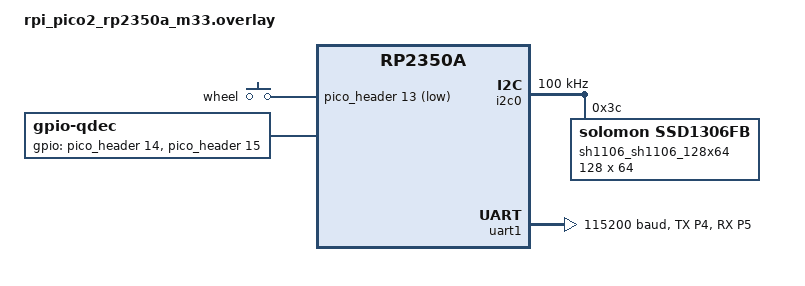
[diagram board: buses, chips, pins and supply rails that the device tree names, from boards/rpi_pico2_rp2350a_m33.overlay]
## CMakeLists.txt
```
# SPDX-License-Identifier: GPL-2.0-or-later

cmake_minimum_required(VERSION 3.20.0)

# Add fusain module to EXTRA_ZEPHYR_MODULES
list(APPEND EXTRA_ZEPHYR_MODULES ${CMAKE_CURRENT_SOURCE_DIR}/../../modules/lib/fusain)

find_package(Zephyr REQUIRED HINTS $ENV{ZEPHYR_BASE})
project(slate)

# Slate sources
FILE(GLOB_RECURSE app_sources src/*.c)
target_sources(app PRIVATE ${app_sources})
target_include_directories(app PRIVATE include)

# Linker section for HTTP resources
zephyr_linker_sources(SECTIONS sections-rom.ld)
```

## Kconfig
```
# Copyright (c) 2025 Kaz Walker, Thermoquad
# SPDX-License-Identifier: GPL-2.0-or-later

menu "Slate Configuration"

config SLATE_MAX_APPLIANCES
	int "Maximum number of appliances in cache"
	default 10
	range 1 64
	help
	  Maximum number of Fusain appliances that can be tracked in the
	  WebSocket bridge appliance cache. Each appliance entry stores
	  the latest telemetry packets (STATE_DATA, MOTOR_DATA, PUMP_DATA,
	  GLOW_DATA, TEMP_DATA) for rate-limited forwarding to WebSocket
	  clients.

	  Memory usage: approximately 600 bytes per appliance.

endmenu

source "Kconfig.zephyr"
```

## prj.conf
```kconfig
# SPDX-License-Identifier: GPL-2.0-or-later

# Networking
CONFIG_NETWORKING=y
CONFIG_TEST_RANDOM_GENERATOR=y
CONFIG_NET_SOCKETS=y
CONFIG_POSIX_API=y

# Stack Sizes (non-default)
CONFIG_MAIN_STACK_SIZE=5200
CONFIG_SHELL_STACK_SIZE=5200
CONFIG_NET_TX_STACK_SIZE=2048
CONFIG_NET_RX_STACK_SIZE=2048

# Network Buffers (increased for WiFi + mDNS + WebSocket)
CONFIG_NET_PKT_RX_COUNT=16
CONFIG_NET_PKT_TX_COUNT=16
CONFIG_NET_BUF_RX_COUNT=128
CONFIG_NET_BUF_TX_COUNT=128
CONFIG_NET_BUF_DATA_SIZE=128
CONFIG_NET_MAX_CONTEXTS=32
CONFIG_NET_MAX_CONN=32
CONFIG_NET_DHCPV4=y

CONFIG_NET_IPV4=y
CONFIG_NET_TCP=y

# Hostname Configuration
CONFIG_NET_HOSTNAME_ENABLE=y
CONFIG_NET_HOSTNAME_DYNAMIC=y
CONFIG_NET_HOSTNAME="slate-thermoquad"
CONFIG_NET_HOSTNAME_MAX_LEN=63

# mDNS Responder
CONFIG_MDNS_RESPONDER=y

# HTTP Server with WebSocket
CONFIG_HTTP_PARSER=y
CONFIG_HTTP_PARSER_URL=y
CONFIG_HTTP_SERVER=y
CONFIG_HTTP_SERVER_MAX_CLIENTS=4
CONFIG_HTTP_SERVER_MAX_URL_LENGTH=128
CONFIG_HTTP_SERVER_WEBSOCKET=y
CONFIG_HTTP_SERVER_CAPTURE_HEADERS=y
CONFIG_HTTP_SERVER_MAX_HEADER_LEN=512
CONFIG_HTTP_SERVER_CAPTURE_HEADER_BUFFER_SIZE=1024
CONFIG_HTTP_SERVER_CAPTURE_HEADER_COUNT=4
CONFIG_WEBSOCKET_MAX_CONTEXTS=4

# POSIX File Descriptors for Sockets
CONFIG_ZVFS_OPEN_MAX=36
CONFIG_ZVFS_POLL_MAX=32

# Eventfd for WebSocket
CONFIG_EVENTFD=y
CONFIG_ZVFS_EVENTFD_MAX=10

CONFIG_NET_LOG=y
CONFIG_NET_SHELL=y
CONFIG_NET_STATISTICS=y

CONFIG_WIFI=y
CONFIG_WIFI_LOG_LEVEL_ERR=y
# printing of scan results puts pressure on queues in new locking
# design in net_mgmt. So, use a higher timeout for a crowded
# environment.
CONFIG_NET_MGMT_EVENT_QUEUE_TIMEOUT=5000
CONFIG_NET_MGMT_EVENT_QUEUE_SIZE=16

# Flash Storage for Configuration
CONFIG_FLASH=y

# NVS for WiFi Credentials
CONFIG_NVS=y
CONFIG_NVS_DATA_CRC=y

# Hardware Info (device ID for hostname)
CONFIG_HWINFO=y
CONFIG_HWINFO_RPI_PICO_CHIP_ID=y

# Logging
CONFIG_LOG=y
CONFIG_SHELL_LOG_BACKEND=y
CONFIG_LOG_RUNTIME_FILTERING=y
CONFIG_LOG_CMDS=y

# Input
CONFIG_INPUT=y
CONFIG_INPUT_GPIO_QDEC=y

# Serial Communication
CONFIG_SERIAL=y

# Shell
CONFIG_SHELL=y
CONFIG_KERNEL_SHELL=y
CONFIG_DEVICE_SHELL=y

# Reboot Command (non-default delay)
CONFIG_REBOOT=y
CONFIG_KERNEL_SHELL_REBOOT_DELAY=250

# Statistics
CONFIG_STATS=y
CONFIG_STATS_NAMES=y
CONFIG_STATS_SHELL=y

# Zbus Message Bus
CONFIG_ZBUS=y

# Fusain Serial Protocol Library
CONFIG_FUSAIN=y

# Slate Configuration
CONFIG_SLATE_MAX_APPLIANCES=10

# I2C for display
CONFIG_I2C=y
CONFIG_I2C_SHELL=y

# Display Subsystem
CONFIG_DISPLAY=y

# LVGL Configuration
CONFIG_LVGL=y
CONFIG_LV_Z_MEM_POOL_SIZE=16384
CONFIG_LV_COLOR_DEPTH_1=y
CONFIG_LV_Z_BITS_PER_PIXEL=1
CONFIG_LV_Z_VDB_SIZE=100
CONFIG_LV_USE_LABEL=y

# Fonts
CONFIG_LV_FONT_MONTSERRAT_12=y
CONFIG_LV_FONT_MONTSERRAT_14=y
CONFIG_LV_FONT_UNSCII_8=y
```

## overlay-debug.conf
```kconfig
# SPDX-License-Identifier: GPL-2.0-or-later

# Debugging
CONFIG_STACK_SENTINEL=y
CONFIG_DEBUG_COREDUMP=y
CONFIG_DEBUG_COREDUMP_BACKEND_LOGGING=y
CONFIG_DEBUG_COREDUMP_MEMORY_DUMP_MIN=y
```

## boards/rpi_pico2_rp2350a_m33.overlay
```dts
/*
 * SPDX-License-Identifier: GPL-2.0-or-later
 */

#include <zephyr/dt-bindings/input/input-event-codes.h>
#include <zephyr/dt-bindings/i2c/i2c.h>

/* Add reverse compatability with Pico */
pico_i2c0: &i2c0 {
	status = "okay";
	clock-frequency = <I2C_BITRATE_STANDARD>;
	pinctrl-0 = <&i2c0_default>;
	pinctrl-names = "default";

	sh1106_sh1106_128x64: ssd1306@3c {
		compatible = "solomon,ssd1306fb";
		reg = <0x3c>;
		width = <128>;
		height = <64>;
		segment-offset = <0>;
		page-offset = <0>;
		display-offset = <0>;
		multiplex-ratio = <63>;
		segment-remap;
		com-invdir;
		prechargep = <0x22>;
	};
};
pico_i2c1: &i2c1 {};
pico_uart1: &uart1 {};

&pinctrl {
	uart1_default: uart1_default {
		group1 {
			pinmux = <UART1_TX_P4>;
		};
		group2 {
			pinmux = <UART1_RX_P5>;
			input-enable;
		};
	};

	i2c0_default: i2c0_default {
		group1 {
			pinmux = <I2C0_SDA_P8>;
			input-enable;
			bias-pull-up;
		};
		group2 {
			pinmux = <I2C0_SCL_P9>;
			input-enable;
			bias-pull-up;
		};
	};
};

&pico_uart1 {
	status = "okay";
	current-speed = <115200>;
	pinctrl-0 = <&uart1_default>;
	pinctrl-names = "default";
};

/ {
  chosen {
    zephyr,display = &sh1106_sh1106_128x64;
  };

  aliases {
    sw0 = &qdec_btn;
    helios-uart = &pico_uart1;
  };

  buttons: buttons {
    compatible = "gpio-keys";
    debounce-interval-ms = <50>;
    qdec_btn: btn_pin {
      gpios = <&pico_header 13 (GPIO_PULL_UP | GPIO_ACTIVE_LOW)>;
      label = "wheel";
      zephyr,code = <INPUT_BTN_0>;
    };
  };

  qdec_btn {
    input = <&buttons>;
    compatible = "zephyr,input-longpress";
    input-codes = <INPUT_BTN_0>;
    short-codes = <INPUT_BTN_1>;
    long-codes = <INPUT_BTN_2>;
    long-delay-ms = <420>;
  };

  qdec {
    compatible = "gpio-qdec";
    status = "okay";
    gpios = <&pico_header 14 (GPIO_PULL_UP | GPIO_ACTIVE_HIGH)>,
            <&pico_header 15 (GPIO_PULL_UP | GPIO_ACTIVE_HIGH)>;
    steps-per-period = <4>;
    zephyr,axis = <INPUT_REL_WHEEL>;
    sample-time-us = <1000>;
    idle-timeout-ms = <100>;
  };
};
```

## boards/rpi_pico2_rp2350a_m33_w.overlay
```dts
/*
 * SPDX-License-Identifier: GPL-2.0-or-later
 */

#include <zephyr/dt-bindings/input/input-event-codes.h>
#include <zephyr/dt-bindings/i2c/i2c.h>
#include <raspberrypi/partitions_4M_storage.dtsi>

/* Add reverse compatability with Pico */
pico_i2c0: &i2c0 {
	status = "okay";
	clock-frequency = <I2C_BITRATE_STANDARD>;
	pinctrl-0 = <&i2c0_default>;
	pinctrl-names = "default";

	sh1106_sh1106_128x64: ssd1306@3c {
		compatible = "solomon,ssd1306fb";
		reg = <0x3c>;
		width = <128>;
		height = <64>;
		segment-offset = <0>;
		page-offset = <0>;
		display-offset = <0>;
		multiplex-ratio = <63>;
		segment-remap;
		com-invdir;
		prechargep = <0x22>;
	};
};
pico_i2c1: &i2c1 {};
pico_uart1: &uart1 {};

&pinctrl {
	uart1_default: uart1_default {
		group1 {
			pinmux = <UART1_TX_P4>;
		};
		group2 {
			pinmux = <UART1_RX_P5>;
			input-enable;
		};
	};

	i2c0_default: i2c0_default {
		group1 {
			pinmux = <I2C0_SDA_P8>;
			input-enable;
			bias-pull-up;
		};
		group2 {
			pinmux = <I2C0_SCL_P9>;
			input-enable;
			bias-pull-up;
		};
	};
};

&pico_uart1 {
	status = "okay";
	current-speed = <115200>;
	pinctrl-0 = <&uart1_default>;
	pinctrl-names = "default";
};

/ {
  chosen {
    zephyr,display = &sh1106_sh1106_128x64;
  };

  aliases {
    sw0 = &qdec_btn;
    helios-uart = &pico_uart1;
  };

  buttons: buttons {
    compatible = "gpio-keys";
    debounce-interval-ms = <50>;
    qdec_btn: btn_pin {
      gpios = <&pico_header 13 (GPIO_PULL_UP | GPIO_ACTIVE_LOW)>;
      label = "wheel";
      zephyr,code = <INPUT_BTN_0>;
    };
  };

  qdec_btn {
    input = <&buttons>;
    compatible = "zephyr,input-longpress";
    input-codes = <INPUT_BTN_0>;
    short-codes = <INPUT_BTN_1>;
    long-codes = <INPUT_BTN_2>;
    long-delay-ms = <420>;
  };

  qdec {
    compatible = "gpio-qdec";
    status = "okay";
    gpios = <&pico_header 14 (GPIO_PULL_UP | GPIO_ACTIVE_HIGH)>,
            <&pico_header 15 (GPIO_PULL_UP | GPIO_ACTIVE_HIGH)>;
    steps-per-period = <4>;
    zephyr,axis = <INPUT_REL_WHEEL>;
    sample-time-us = <1000>;
    idle-timeout-ms = <100>;
  };
};
```

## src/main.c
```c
/*
 * Copyright (c) 2016 Intel Corporation.
 * Copyright (c) 2025 Kaz Walker, Thermoquad
 *
 * SPDX-License-Identifier: GPL-2.0-or-later
 */

#include <zephyr/input/input.h>
#include <zephyr/kernel.h>
#include <zephyr/logging/log.h>
#include <zephyr/net/http/server.h>
#include <zephyr/net/http/service.h>
#include <zephyr/zbus/zbus.h>

#include <slate/config.h>
#include <slate/display.h>
#include <slate/serial_handler.h>
#include <slate/wifi_config.h>
#include <slate/zbus.h>

/* WebSocket bridge exports (from websocket_bridge.c) */
extern struct http_resource_detail_websocket ws_fusain_resource_detail;
extern struct http_resource_detail_dynamic stats_resource_detail;
extern int ws_fusain_setup(int ws_socket, struct http_request_ctx *request_ctx,
                           void *user_data);
extern void fusain_raw_rx_callback(const struct zbus_channel *chan);

LOG_MODULE_REGISTER(main, LOG_LEVEL_INF);

//////////////////////////////////////////////////////////////
// Zbus Observers
//////////////////////////////////////////////////////////////

/* WebSocket bridge listener - callback defined in websocket_bridge.c */
ZBUS_LISTENER_DEFINE(ws_bridge_listener, fusain_raw_rx_callback);

/* Display listener - callback defined in display.c */
ZBUS_LISTENER_DEFINE(display_listener, display_raw_rx_callback);

//////////////////////////////////////////////////////////////
// Zbus Channel Definitions
//////////////////////////////////////////////////////////////

/**
 * Helios state command channel
 *
 * Used by shell commands to request mode changes on the remote
 * Helios ICU. The serial handler subscribes and sends the
 * appropriate SET_MODE protocol messages.
 */
ZBUS_CHAN_DEFINE(helios_state_command_chan,
    fusain_state_command_msg_t,
    NULL, // No validator
    NULL, // No user data
    ZBUS_OBSERVERS(serial_handler_listener), // Serial handler subscribes
    ZBUS_MSG_INIT(.mode = FUSAIN_MODE_IDLE, .argument = 0) // Initialize to idle
);

/**
 * Raw Fusain packet RX channel
 *
 * Published by serial handler when any packet is received from Helios.
 * WebSocket bridge and display subscribe to receive packets.
 */
ZBUS_CHAN_DEFINE(fusain_raw_rx_chan,
    fusain_raw_packet_msg_t,
    NULL, // No validator
    NULL, // No user data
    ZBUS_OBSERVERS(ws_bridge_listener, display_listener),
    ZBUS_MSG_INIT(.timestamp_us = 0) // Initialize with zero timestamp
);

//////////////////////////////////////////////////////////////
// HTTP Service and WebSocket Resource
//////////////////////////////////////////////////////////////

#define HTTP_PORT 80

static uint16_t http_port = HTTP_PORT;

/* HTTP service on port 80 */
HTTP_SERVICE_DEFINE(fusain_bridge_service, NULL, &http_port,
                    CONFIG_HTTP_SERVER_MAX_CLIENTS, 10, NULL, NULL, NULL);

/* WebSocket endpoint at /fusain */
HTTP_RESOURCE_DEFINE(ws_fusain, fusain_bridge_service, "/fusain",
                     &ws_fusain_resource_detail);

/* Stats endpoint at /stats */
HTTP_RESOURCE_DEFINE(http_stats, fusain_bridge_service, "/stats",
                     &stats_resource_detail);

//////////////////////////////////////////////////////////////
// Input Callback
//////////////////////////////////////////////////////////////

static void test_cb(struct input_event* evt, void* p)
{
  if (evt->code == INPUT_REL_WHEEL) {
    printk("z event %d\n", evt->value);
  }
  if (evt->code == INPUT_BTN_1 && evt->value == 1) {
    printk("short press %d\n", evt->value);
  }
  if (evt->code == INPUT_BTN_2 && evt->value == 1) {
    printk("long press %d\n", evt->value);
  }
}

INPUT_CALLBACK_DEFINE(NULL, test_cb, NULL);

/* Thread Definitions */
K_THREAD_DEFINE(serial_rx_id, CONFIG_MAIN_STACK_SIZE, serial_rx_thread, NULL, NULL, NULL, -2, 0, 0); // RX: Highest priority - time-critical UART RX polling
K_THREAD_DEFINE(serial_tx_id, CONFIG_MAIN_STACK_SIZE, serial_tx_thread, NULL, NULL, NULL, 0, 0, 0);  // TX: Priority 0 - UART TX polling and queue processing
K_THREAD_DEFINE(serial_processing_id, CONFIG_MAIN_STACK_SIZE, serial_processing_thread, NULL, NULL, NULL, 1, 0, 0); // Processing: Priority 1 - protocol logic
K_THREAD_DEFINE(display_id, 8192, display_thread, NULL, NULL, NULL, 5, 0, 0); // Lower priority - display can wait

int main(void)
{
  LOG_INF("Slate controller starting");

  // Initialize configuration storage
  int rc = config_init();
  if (rc != 0) {
    LOG_ERR("Failed to initialize config storage: %d", rc);
    return rc;
  }

  // Check if WiFi credentials are stored
  if (wifi_config_exists()) {
    LOG_INF("WiFi credentials found in storage");
  } else {
    LOG_INF("No WiFi credentials stored - use 'wifi_save' command");
  }

  return 0;
}
```

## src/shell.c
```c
// SPDX-License-Identifier: GPL-2.0-or-later
#include <stdlib.h>
#include <string.h>

#include <zephyr/kernel.h>
#include <zephyr/logging/log.h>
#include <zephyr/net/net_core.h>
#include <zephyr/net/net_if.h>
#include <zephyr/net/wifi.h>
#include <zephyr/net/wifi_mgmt.h>

#include <slate/serial_handler.h>
#include <slate/shell.h>
#include <slate/wifi.h>
#include <slate/wifi_config.h>
#include <slate/zbus.h>

LOG_MODULE_REGISTER(slate_shell);

#define PUB_TIMEOUT K_SECONDS(1)

// State names for display
static const char* const fusain_state_names[] = {
  "INIT",    // FUSAIN_STATE_INITIALIZING
  "IDLE",    // FUSAIN_STATE_IDLE
  "BLOWING", // FUSAIN_STATE_BLOWING
  "PREHEAT", // FUSAIN_STATE_PREHEAT
  "PRE_ST2", // FUSAIN_STATE_PREHEAT_STAGE_2
  "HEATING", // FUSAIN_STATE_HEATING
  "COOLING", // FUSAIN_STATE_COOLING
  "ERROR",   // FUSAIN_STATE_ERROR
  "E_STOP",  // FUSAIN_STATE_E_STOP
};

// Mode names for display
static const char* const fusain_mode_names[] = {
  "IDLE",      // FUSAIN_MODE_IDLE
  "FAN",       // FUSAIN_MODE_FAN
  "HEAT",      // FUSAIN_MODE_HEAT
  [255] = "EMERGENCY", // FUSAIN_MODE_EMERGENCY
};

//////////////////////////////////////////////////////////////
// Helper Functions
//////////////////////////////////////////////////////////////

/**
 * Send a state command to Helios via Zbus
 *
 * @param sh Shell instance
 * @param cmd Command message to send
 * @return 0 on success, negative error code on failure
 */
static int send_state_command(const struct shell* sh, fusain_state_command_msg_t* cmd)
{
  int ret = zbus_chan_pub(&helios_state_command_chan, cmd, PUB_TIMEOUT);
  if (ret != 0) {
    LOG_ERR("Failed to publish state command: %d", ret);
    shell_print(sh, "Error: Unable to send command to Helios");
    return ret;
  }

  shell_print(sh, "Sending %s command to Helios (argument: %d)",
      fusain_mode_names[cmd->mode], cmd->argument);
  return 0;
}

//////////////////////////////////////////////////////////////
// Helios Commands
//////////////////////////////////////////////////////////////

int cmd_helios(const struct shell* sh, size_t argc, char** argv)
{
  ARG_UNUSED(argc);
  ARG_UNUSED(argv);

  shell_print(sh, "Slate controller - Helios remote control");
  shell_print(sh, "Use 'helios state' subcommands to control the burner");
  return 0;
}

int cmd_get_state(const struct shell* sh, size_t argc, char** argv)
{
  ARG_UNUSED(argc);
  ARG_UNUSED(argv);

  fusain_state_t state;
  fusain_error_t error;

  helios_get_state(&state, &error);

  shell_print(sh, "Helios State: %s (%d)", fusain_state_names[state], state);

  if (error != FUSAIN_ERROR_NONE) {
    shell_print(sh, "Helios Error: %d", error);
  }

  return 0;
}

int cmd_helios_status(const struct shell* sh, size_t argc, char** argv)
{
  ARG_UNUSED(argc);
  ARG_UNUSED(argv);

  struct serial_handler_stats stats;
  serial_handler_get_stats(&stats);

  shell_print(sh, "Helios Serial Status:");
  shell_print(sh, "  Bytes received: %u", stats.bytes_received);
  shell_print(sh, "  Packets decoded: %u", stats.packets_decoded);
  shell_print(sh, "  Ping response: %s", stats.ping_response_received ? "yes" : "no");
  shell_print(sh, "  Telemetry: %s", stats.telemetry_received ? "yes" : "no");
  shell_print(sh, "  Helios uptime: %u ms", stats.helios_uptime_ms);

  return 0;
}

int cmd_set_idle(const struct shell* sh, size_t argc, char** argv)
{
  ARG_UNUSED(argc);
  ARG_UNUSED(argv);

  fusain_state_command_msg_t cmd = {
    .mode = FUSAIN_MODE_IDLE,
    .argument = 0,
  };

  return send_state_command(sh, &cmd);
}

int cmd_set_fan(const struct shell* sh, size_t argc, char** argv)
{
  if (argc != 2) {
    shell_print(sh, "Usage: helios state fan <rpm>");
    return -EINVAL;
  }

  int rpm = atoi(argv[1]);
  if (rpm < 0) {
    shell_print(sh, "Error: RPM must be positive");
    return -EINVAL;
  }

  fusain_state_command_msg_t cmd = {
    .mode = FUSAIN_MODE_FAN,
    .argument = rpm,
  };

  return send_state_command(sh, &cmd);
}

int cmd_set_heat(const struct shell* sh, size_t argc, char** argv)
{
  if (argc != 2) {
    shell_print(sh, "Usage: helios state heat <pump_rate_ms>");
    return -EINVAL;
  }

  int pump_rate = atoi(argv[1]);
  if (pump_rate < 100) {
    shell_print(sh, "Error: Pump rate must be >= 100ms");
    return -EINVAL;
  }

  fusain_state_command_msg_t cmd = {
    .mode = FUSAIN_MODE_HEAT,
    .argument = pump_rate,
  };

  return send_state_command(sh, &cmd);
}

//////////////////////////////////////////////////////////////
// Slate Commands
//////////////////////////////////////////////////////////////

int cmd_slate(const struct shell* sh, size_t argc, char** argv)
{
  ARG_UNUSED(argc);
  ARG_UNUSED(argv);

  shell_print(sh, "Slate controller configuration");
  shell_print(sh, "Use 'slate wifi' subcommands for WiFi configuration");
  return 0;
}

int cmd_slate_wifi(const struct shell* sh, size_t argc, char** argv)
{
  ARG_UNUSED(argc);
  ARG_UNUSED(argv);

  shell_print(sh, "WiFi configuration");
  shell_print(sh, "Available subcommands: save, auto-connect, reconnect-interval, settings");
  return 0;
}

//////////////////////////////////////////////////////////////
// WiFi Commands
//////////////////////////////////////////////////////////////

int cmd_wifi_save(const struct shell* sh, size_t argc, char** argv)
{
  if (argc != 3) {
    shell_print(sh, "Usage: slate wifi save <ssid> <password>");
    return -EINVAL;
  }

  const char* ssid = argv[1];
  const char* password = argv[2];

  // Validate SSID length
  size_t ssid_len = strlen(ssid);
  if (ssid_len == 0 || ssid_len > WIFI_SSID_MAX_LEN) {
    shell_print(sh, "Error: SSID must be 1-%d characters (got %zu)",
                WIFI_SSID_MAX_LEN, ssid_len);
    return -EINVAL;
  }

  // Validate password length
  size_t password_len = strlen(password);
  if (password_len > WIFI_PASSWORD_MAX_LEN) {
    shell_print(sh, "Error: Password must be 0-%d characters (got %zu)",
                WIFI_PASSWORD_MAX_LEN, password_len);
    return -EINVAL;
  }

  // Save credentials
  int rc = wifi_config_save(ssid, password);
  if (rc != 0) {
    shell_print(sh, "Error: Failed to save WiFi credentials: %d", rc);
    return rc;
  }

  shell_print(sh, "WiFi credentials saved successfully");
  shell_print(sh, "SSID: %s", ssid);
  shell_print(sh, "Password: %s", password_len > 0 ? "***" : "(empty)");

  // Send connect command via Zbus
  shell_print(sh, "Connecting to WiFi...");
  wifi_command_msg_t cmd = {
    .type = WIFI_CMD_CONNECT,
  };
  strncpy(cmd.connect.ssid, ssid, sizeof(cmd.connect.ssid) - 1);
  cmd.connect.ssid[sizeof(cmd.connect.ssid) - 1] = '\0';
  strncpy(cmd.connect.password, password, sizeof(cmd.connect.password) - 1);
  cmd.connect.password[sizeof(cmd.connect.password) - 1] = '\0';

  rc = zbus_chan_pub(&wifi_command_chan, &cmd, PUB_TIMEOUT);
  if (rc != 0) {
    shell_print(sh, "Error: Failed to send WiFi command: %d", rc);
    return rc;
  }

  shell_print(sh, "WiFi connection initiated (check logs for result)");

  return 0;
}

int cmd_wifi_auto_connect_enable(const struct shell* sh, size_t argc, char** argv)
{
  ARG_UNUSED(argc);
  ARG_UNUSED(argv);

  // Load current settings
  struct wifi_settings settings;
  wifi_settings_load(&settings);

  // Update auto_connect
  settings.auto_connect = true;

  // Save updated settings
  int rc = wifi_settings_save(settings.auto_connect, settings.reconnect_interval);
  if (rc != 0) {
    shell_print(sh, "Error: Failed to save WiFi settings: %d", rc);
    return rc;
  }

  // Update running state via Zbus
  wifi_command_msg_t cmd = {
    .type = WIFI_CMD_SET_AUTO_CONNECT,
    .auto_connect = true,
  };
  rc = zbus_chan_pub(&wifi_command_chan, &cmd, PUB_TIMEOUT);
  if (rc != 0) {
    shell_print(sh, "Error: Failed to send WiFi command: %d", rc);
    return rc;
  }

  shell_print(sh, "WiFi auto-connect enabled");

  return 0;
}

int cmd_wifi_auto_connect_disable(const struct shell* sh, size_t argc, char** argv)
{
  ARG_UNUSED(argc);
  ARG_UNUSED(argv);

  // Load current settings
  struct wifi_settings settings;
  wifi_settings_load(&settings);

  // Update auto_connect
  settings.auto_connect = false;

  // Save updated settings
  int rc = wifi_settings_save(settings.auto_connect, settings.reconnect_interval);
  if (rc != 0) {
    shell_print(sh, "Error: Failed to save WiFi settings: %d", rc);
    return rc;
  }

  // Update running state via Zbus
  wifi_command_msg_t cmd = {
    .type = WIFI_CMD_SET_AUTO_CONNECT,
    .auto_connect = false,
  };
  rc = zbus_chan_pub(&wifi_command_chan, &cmd, PUB_TIMEOUT);
  if (rc != 0) {
    shell_print(sh, "Error: Failed to send WiFi command: %d", rc);
    return rc;
  }

  shell_print(sh, "WiFi auto-connect disabled");

  return 0;
}

int cmd_wifi_reconnect_interval(const struct shell* sh, size_t argc, char** argv)
{
  if (argc != 2) {
    shell_print(sh, "Usage: slate wifi reconnect-interval <seconds>");
    shell_print(sh, "  Valid range: 10-3600 seconds");
    return -EINVAL;
  }

  int reconnect_interval = atoi(argv[1]);
  if (reconnect_interval < 10 || reconnect_interval > 3600) {
    shell_print(sh, "Error: Reconnect interval must be 10-3600 seconds (got %d)",
                reconnect_interval);
    return -EINVAL;
  }

  // Load current settings
  struct wifi_settings settings;
  wifi_settings_load(&settings);

  // Update reconnect_interval
  settings.reconnect_interval = reconnect_interval;

  // Save updated settings
  int rc = wifi_settings_save(settings.auto_connect, settings.reconnect_interval);
  if (rc != 0) {
    shell_print(sh, "Error: Failed to save WiFi settings: %d", rc);
    return rc;
  }

  // Update running state via Zbus
  wifi_command_msg_t cmd = {
    .type = WIFI_CMD_SET_RECONNECT_INTERVAL,
    .reconnect_interval = (uint32_t)reconnect_interval,
  };
  rc = zbus_chan_pub(&wifi_command_chan, &cmd, PUB_TIMEOUT);
  if (rc != 0) {
    shell_print(sh, "Error: Failed to send WiFi command: %d", rc);
    return rc;
  }

  shell_print(sh, "WiFi reconnect interval set to %u seconds", reconnect_interval);

  return 0;
}

int cmd_wifi_settings(const struct shell* sh, size_t argc, char** argv)
{
  ARG_UNUSED(argc);
  ARG_UNUSED(argv);

  // Load current settings
  struct wifi_settings settings;
  int rc = wifi_settings_load(&settings);
  if (rc != 0) {
    shell_print(sh, "Error: Failed to load WiFi settings: %d", rc);
    return rc;
  }

  shell_print(sh, "WiFi Settings:");
  shell_print(sh, "  Auto-connect: %s", settings.auto_connect ? "enabled" : "disabled");
  shell_print(sh, "  Reconnect interval: %u seconds", settings.reconnect_interval);

  return 0;
}

int cmd_wifi_status(const struct shell* sh, size_t argc, char** argv)
{
  ARG_UNUSED(argc);
  ARG_UNUSED(argv);

  // Get WiFi status from Zbus
  wifi_status_msg_t status_msg;
  int rc = zbus_chan_read(&wifi_status_chan, &status_msg, K_MSEC(100));
  if (rc != 0) {
    shell_print(sh, "Error: Failed to read WiFi status from Zbus: %d", rc);
    return rc;
  }

  // Get WiFi station interface
  struct net_if* iface = net_if_get_wifi_sta();
  if (!iface) {
    shell_print(sh, "Error: WiFi interface not found");
    return -ENODEV;
  }

  // Request WiFi interface status
  struct wifi_iface_status status = { 0 };
  rc = net_mgmt(NET_REQUEST_WIFI_IFACE_STATUS, iface, &status,
                    sizeof(struct wifi_iface_status));
  if (rc != 0) {
    shell_print(sh, "Status request failed: %d", rc);
    return -ENOEXEC;
  }

  // Print status header
  shell_print(sh, "Status: successful");
  shell_print(sh, "==================");
  shell_print(sh, "State: %s", wifi_state_txt(status.state));

  // Display hostname from Zbus
  if (status_msg.hostname[0] != '\0') {
    shell_print(sh, "Hostname: %s", status_msg.hostname);
  }

  // Print detailed info only if associated
  if (status.state >= WIFI_STATE_ASSOCIATED) {
    char bssid_str[18];  // "xx:xx:xx:xx:xx:xx\0"

    shell_print(sh, "Interface Mode: %s", wifi_mode_txt(status.iface_mode));
    shell_print(sh, "Link Mode: %s", wifi_link_mode_txt(status.link_mode));
    shell_print(sh, "SSID: %.32s", status.ssid);

    // Format BSSID manually
    snprintf(bssid_str, sizeof(bssid_str), "%02X:%02X:%02X:%02X:%02X:%02X",
             status.bssid[0], status.bssid[1], status.bssid[2],
             status.bssid[3], status.bssid[4], status.bssid[5]);
    shell_print(sh, "BSSID: %s", bssid_str);

    shell_print(sh, "Band: %s", wifi_band_txt(status.band));
    shell_print(sh, "Channel: %d", status.channel);
    shell_print(sh, "Security: %s %s",
                wifi_wpa3_enterprise_txt(status.wpa3_ent_type),
                wifi_security_txt(status.security));
    shell_print(sh, "MFP: %s", wifi_mfp_txt(status.mfp));

    if (status.iface_mode == WIFI_MODE_INFRA) {
      shell_print(sh, "RSSI: %d", status.rssi);
    }

    shell_print(sh, "Beacon Interval: %d", status.beacon_interval);
    shell_print(sh, "DTIM: %d", status.dtim_period);
    shell_print(sh, "TWT: %s", status.twt_capable ? "Supported" : "Not supported");
    shell_print(sh, "Current PHY TX rate (Mbps) : %.1f", (double)status.current_phy_tx_rate);

    // Display IP addresses from Zbus
    if (status_msg.ipv4_address[0] != '\0') {
      shell_print(sh, "IPv4 Address: %s", status_msg.ipv4_address);
    }

    // Display IPv6 address (hide field if none)
    if (status_msg.ipv6_address[0] != '\0') {
      shell_print(sh, "IPv6 Address: %s", status_msg.ipv6_address);
    }
  }

  return 0;
}
```
